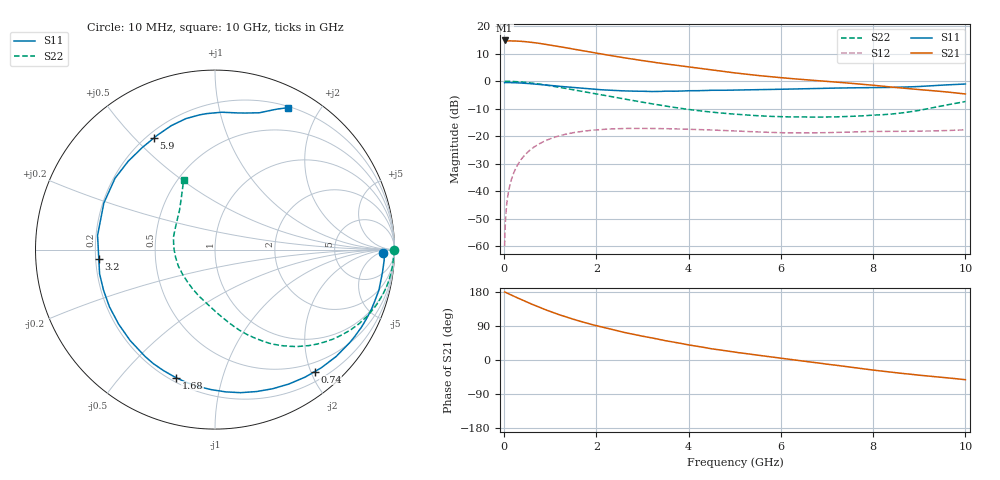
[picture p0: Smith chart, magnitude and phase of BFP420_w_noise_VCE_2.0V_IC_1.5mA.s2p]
! (c) 2016  Infineon Technologies AG, Munich
! Infineon Technologies  Discrete & RF Semiconductors
! BFP420
! VCE =  2.0 V,  IC =  1.5 mA
! Common Emitter S-Parameters:  Jan 2016
# GHz  S  MA  R  50
!  f  S11  S21  S12  S22
! GHz  MAG  ANG  MAG  ANG  MAG  ANG  MAG  ANG
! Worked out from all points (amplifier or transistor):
!   233 points, 10 MHz to 10 GHz, reference 50 ohm
!   highest |S21| = 14.8 dB at 10 MHz (marker M1)
!   |S21| within 3 dB of that: start of sweep to 1.455 GHz
!   unconditionally stable (mu >= 1): 4.107 GHz to end of sweep
!   at 200 MHz: K = 0.02, MSG = 24.2 dB, |S12| = -33.7 dB
!   at 1.74 GHz: K = 0.33, MSG = 14.6 dB, |S12| = -18.1 dB
!   at 10 GHz: K = 1.27, MAG = 3.4 dB, |S12| = -17.7 dB
!   lowest NFmin = 0.52 dB at 900 MHz
!   S11 on the Smith chart (normalised r, x): 10 MHz: 28, -10; 740 MHz: 0.35, -2.06; 1.68 GHz: 0.22, -0.72; 3.2 GHz: 0.21, -0.04; 5.9 GHz: 0.23, +0.57; 10 GHz: 0.21, +1.62
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0.01  0.9388 -1.3  5.51 179.4  0.001 85.9  0.9954 0.0
0.02  0.944 -1.5  5.352 179.2  0.002 86.1  0.996 -0.7
0.03  0.944 -2.2  5.362 178.6  0.0031 88.0  0.996 -1.1
0.065  0.9435 -4.5  5.394 176.5  0.0068 88.0  0.9956 -2.6
0.18  0.9401 -12.5  5.407 170.1  0.0187 82.7  0.9899 -7.3
0.36  0.927 -25.0  5.321 160.2  0.037 75.3  0.9698 -14.5
0.5  0.9122 -34.6  5.197 152.6  0.0504 69.7  0.9459 -19.9
0.74  0.8778 -50.8  4.912 140.3  0.071 60.2  0.8927 -28.5
0.96  0.8441 -65.0  4.602 129.8  0.0872 52.3  0.8369 -35.7
1.2  0.8097 -79.9  4.257 119.3  0.1019 44.5  0.774 -42.9
1.68  0.7452 -106.9  3.615 101.1  0.1221 31.0  0.6552 -54.8
1.98  0.7133 -122.2  3.259 91.1  0.13 23.8  0.5901 -61.0
2.4  0.6788 -142.3  2.845 78.5  0.1369 15.0  0.5089 -69.0
2.78  0.6611 -159.2  2.526 68.2  0.139 8.1  0.4462 -75.5
3.2  0.6494 -175.6  2.238 58.4  0.1381 1.9  0.389 -82.5
3.4  0.653 176.8  2.119 53.5  0.1375 -0.9  0.3646 -86.2
4  0.6714 157.3  1.818 39.8  0.1341 -7.6  0.3063 -98.0
5.1  0.6903 132.7  1.386 19.1  0.1234 -15.5  0.248 -121.8
5.9  0.7092 118.6  1.181 6.4  0.1163 -17.5  0.2277 -140.7
6.8  0.7402 105.2  1.02 -7.7  0.1154 -17.7  0.2224 -163.5
8.4  0.7717 80.7  0.782 -32.2  0.1224 -21.7  0.253 150.5
10  0.8892 62.8  0.586 -52.0  0.1306 -24.2  0.4269 114.2
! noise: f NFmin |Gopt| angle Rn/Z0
0.9  0.52  0.55  33  0.27
1.8  1.07  0.35  77  0.21
2.4  1.18  0.36  101  0.18
3  1.41  0.36  134  0.13
4  1.68  0.4  -172  0.1
5  2.08  0.44  -130  0.32
6  2.89  0.57  -114  0.39
